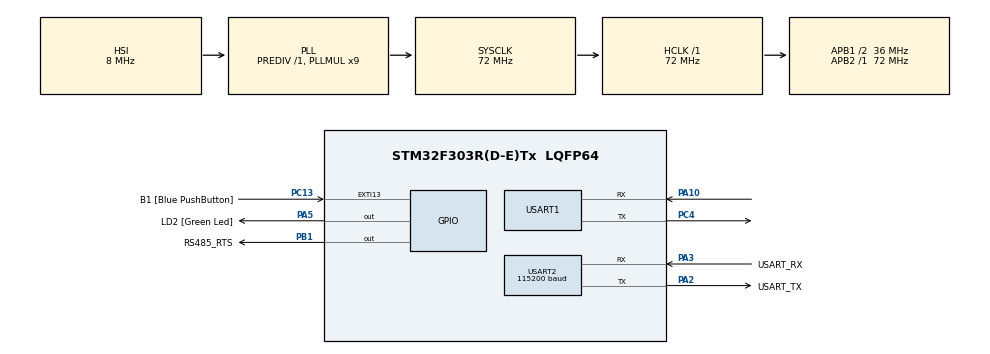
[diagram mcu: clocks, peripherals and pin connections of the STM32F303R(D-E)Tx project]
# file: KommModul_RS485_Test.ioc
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Mcu.Family=STM32F3
Mcu.Name=STM32F303R(D-E)Tx
Mcu.Package=LQFP64
NVIC.PriorityGroup=NVIC_PRIORITYGROUP_0
NVIC.USART1_IRQn=true\:0\:0\:false\:false\:true\:true\:true\:true
PA10.GPIO_PuPd=GPIO_NOPULL
PA10.Mode=Asynchronous
PA10.Signal=USART1_RX
PA13.GPIO_Label=TMS
PA13.Mode=Serial_Wire
PA13.Signal=SYS_JTMS-SWDIO
PA14.GPIO_Label=TCK
PA14.Mode=Serial_Wire
PA14.Signal=SYS_JTCK-SWCLK
PA2.GPIO_Label=USART_TX
PA2.GPIO_Mode=GPIO_MODE_AF_PP
PA2.GPIO_PuPd=GPIO_NOPULL
PA2.GPIO_Speed=GPIO_SPEED_FREQ_LOW
PA2.Mode=Asynchronous
PA2.Signal=USART2_TX
PA3.GPIO_Label=USART_RX
PA3.GPIO_Mode=GPIO_MODE_AF_PP
PA3.GPIO_PuPd=GPIO_NOPULL
PA3.GPIO_Speed=GPIO_SPEED_FREQ_LOW
PA3.Mode=Asynchronous
PA3.Signal=USART2_RX
PA5.GPIO_Label=LD2 [Green Led]
PA5.GPIO_Mode=GPIO_MODE_OUTPUT_PP
PA5.GPIO_PuPd=GPIO_NOPULL
PA5.GPIO_Speed=GPIO_SPEED_FREQ_LOW
PA5.Signal=GPIO_Output
PB1.GPIO_Label=RS485_RTS
PB1.Signal=GPIO_Output
PB3.GPIO_Label=SWO
PB3.Signal=SYS_JTDO-TRACESWO
PC13.GPIO_Label=B1 [Blue PushButton]
PC13.GPIO_ModeDefaultEXTI=GPIO_MODE_IT_FALLING
PC13.Signal=GPXTI13
PC14-OSC32_IN.Mode=LSE-External-Oscillator
PC14-OSC32_IN.Signal=RCC_OSC32_IN
PC15-OSC32_OUT.Mode=LSE-External-Oscillator
PC15-OSC32_OUT.Signal=RCC_OSC32_OUT
PC4.Mode=Asynchronous
PC4.Signal=USART1_TX
PF0-OSC_IN.Mode=HSE-External-Clock-Source
PF0-OSC_IN.Signal=RCC_OSC_IN
PF1-OSC_OUT.Signal=RCC_OSC_OUT
ProjectManager.HeapSize=0x200
ProjectManager.StackSize=0x400
ProjectManager.TargetToolchain=STM32CubeIDE
RCC.AHBFreq_Value=72000000
RCC.APB1CLKDivider=RCC_HCLK_DIV2
RCC.APB1Freq_Value=36000000
RCC.APB1TimFreq_Value=72000000
RCC.APB2Freq_Value=72000000
RCC.APB2TimFreq_Value=72000000
RCC.CortexFreq_Value=72000000
RCC.HCLKFreq_Value=72000000
RCC.HSE_VALUE=8000000
RCC.HSI_VALUE=8000000
RCC.PLLM=8
RCC.PLLMUL=RCC_PLL_MUL9
RCC.PLLN=336
RCC.PLLP=RCC_PLLP_DIV4
RCC.PLLQ=7
RCC.RCC_PLLsource_Clock_Source_FROM_HSE=RCC_HSE_PREDIV_DIV2
RCC.SYSCLKFreq_VALUE=72000000
RCC.SYSCLKSourceVirtual=RCC_SYSCLKSOURCE_PLLCLK
RCC.USBFreq_Value=72000000
USART1.VirtualMode-Asynchronous=VM_ASYNC
USART2.BaudRate=115200
USART2.VirtualMode-Asynchronous=VM_ASYNC
board=NUCLEO-F303RE

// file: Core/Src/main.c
/* USER CODE BEGIN Header */
/**
  ******************************************************************************
  * @file           : main.c
  * @brief          : Main program body
  ******************************************************************************
  * @attention
  *
  * Copyright (c) 2026 STMicroelectronics.
  * All rights reserved.
  *
  * This software is licensed under terms that can be found in the LICENSE file
  * in the root directory of this software component.
  * If no LICENSE file comes with this software, it is provided AS-IS.
  *
  ******************************************************************************
  */
/* USER CODE END Header */
#include "main.h"
#include "usart.h"
#include "gpio.h"

/* USER CODE BEGIN Includes */
#include <stdio.h>
#include "uart_rs485.h"
/* USER CODE END Includes */

void SystemClock_Config(void);

/* USER CODE BEGIN 0 */
int _write(int file, char *ptr, int len)
{
    (void)file;

    for (int i = 0; i < len; i++)
    {
        if (ptr[i] == '\n')
        {
            uint8_t cr = '\r';
            HAL_UART_Transmit(&huart2, &cr, 1, HAL_MAX_DELAY);
        }

        HAL_UART_Transmit(&huart2, (uint8_t *)&ptr[i], 1, HAL_MAX_DELAY);
    }

    return len;
}

/* static void print_rs485_frame(const rs485_frame_t *frame)
{
    printf("%02X %02X %02X %02X %02X  %s",
           frame->data[0],
           frame->data[1],
           frame->data[2],
           frame->data[3],
           frame->data[4],
           frame->checksum_ok ? "OK" : "CRC_ERROR");

    if (frame->error_flags != 0U)
    {
        printf("  USART_ERR=0x%08lX", (unsigned long)frame->error_flags);
    }

    printf("\n");
} */
/* USER CODE END 0 */

int main(void)
{

  /* MCU Configuration--------------------------------------------------------*/

  /* Reset of all peripherals, Initializes the Flash interface and the Systick. */
  HAL_Init();

  /* Configure the system clock */
  SystemClock_Config();

  /* Initialize all configured peripherals */
  MX_GPIO_Init();
  MX_USART1_UART_Init();
  MX_USART2_UART_Init();

  /* USER CODE BEGIN 2 */
  uart_rs485_start();

  printf("\nRS485 Sende-/Empfangstest gestartet\n");
  printf("USART1: RS485 TX/RX, 38400 Baud\n");
  printf("USART2: Debug-Ausgabe, 115200 Baud\n\n");
  printf("Alle 30 ms wird ein Telemetrieframe gesendet.\n");
  printf("Reihenfolge: rpm, Leistung, Spannung, Kapazitaet, "
         "Geschwindigkeit, Temperatur\n\n");

  /* Nur für Softwaretest. Später bei echter Messung auskommentieren. */
  //uart_rs485_test_inject_frame();

  rs485_frame_t frame = {0};
  //uint8_t raw_byte = 0;
  //uint8_t raw_count_in_line = 0;
  uint32_t last_diag = 0;
  uint32_t last_printed_tx_count = 0U;
  uint8_t last_tx_frame[RS485_FRAME_LENGTH] = {0U};
  /* USER CODE END 2 */

  /* Infinite loop */
  while (1)
  {

	  /* USER CODE BEGIN 3 */

	  /*
	   * Bidirektionalen RS485-Test bedienen.
	   * Empfang läuft weiterhin per UART-Interrupt.
	   */
	  uart_rs485_process();

	  /*
	   * Jedes erfolgreich gesendete Frame auf USART2 ausgeben.
	   */
	  if (uart_rs485_get_tx_frame_count() != last_printed_tx_count)
	  {
	      last_printed_tx_count = uart_rs485_get_tx_frame_count();
	      uart_rs485_get_last_tx_frame(last_tx_frame);

	      printf("%lu ms TX:    %02X %02X %02X %02X %02X\n",
	             (unsigned long)HAL_GetTick(),
	             last_tx_frame[0],
	             last_tx_frame[1],
	             last_tx_frame[2],
	             last_tx_frame[3],
	             last_tx_frame[4]);
	  }

	  /*
	   * Rohbytes ausgeben.
	   * Für sehr lange Messungen kann man das später deaktivieren,
	   * aber für die aktuelle Fehlersuche ist es hilfreich.
	   */
	/*  while (uart_rs485_get_raw_byte(&raw_byte))
	  {
	      printf("%02X ", raw_byte);

	      raw_count_in_line++;

	      if (raw_count_in_line >= 16U)
	      {
	          raw_count_in_line = 0;
	          printf("\n");
	      }
	  }*/

	  /*
	   * Erkannte Frames zusätzlich ausgeben.
	   * Falls die Ausgabe zu viel wird, kannst du diesen Block testweise auskommentieren.
	   */
	  while (uart_rs485_get_frame(&frame))
	  {
	      printf("%lu ms FRAME: %02X %02X %02X %02X %02X  %s\n",
	             (unsigned long)HAL_GetTick(),
	             frame.data[0],
	             frame.data[1],
	             frame.data[2],
	             frame.data[3],
	             frame.data[4],
	             frame.checksum_ok ? "OK" : "CRC_ERROR");
	  }
	  /*
	   * Diagnose einmal pro Sekunde.
	   */
	  if (HAL_GetTick() - last_diag >= 1000U)
	  {
	      last_diag = HAL_GetTick();

	      printf("\n%lu ms DIAG rx=%lu tx=%lu tx_err=%lu "
	             "last_tx_cmd=%02X last_tx_value=%u "
	             "last_rx=%02X raw_lost=%lu frame_lost=%lu "
	             "uart_err=%lu last_err=0x%08lX ISR=0x%08lX "
	             "FE=%lu NE=%lu ORE=%lu PE=%lu\n",
	             (unsigned long)HAL_GetTick(),
	             (unsigned long)uart_rs485_get_rx_byte_count(),
	             (unsigned long)uart_rs485_get_tx_frame_count(),
	             (unsigned long)uart_rs485_get_tx_error_count(),
	             uart_rs485_get_last_tx_command(),
	             (unsigned int)uart_rs485_get_last_tx_value(),
	             uart_rs485_get_last_rx_byte(),
	             (unsigned long)uart_rs485_get_raw_lost_count(),
	             (unsigned long)uart_rs485_get_lost_frame_count(),
	             (unsigned long)uart_rs485_get_error_count(),
	             (unsigned long)uart_rs485_get_last_uart_error(),
	             (unsigned long)uart_rs485_get_last_usart_isr(),
	             (unsigned long)uart_rs485_get_framing_error_count(),
	             (unsigned long)uart_rs485_get_noise_error_count(),
	             (unsigned long)uart_rs485_get_overrun_error_count(),
	             (unsigned long)uart_rs485_get_parity_error_count());
	  }
      /* USER CODE END 3 */
  }
  /* USER CODE END 3 */
}

void SystemClock_Config(void)
{
  RCC_OscInitTypeDef RCC_OscInitStruct = {0};
  RCC_ClkInitTypeDef RCC_ClkInitStruct = {0};
  RCC_PeriphCLKInitTypeDef PeriphClkInit = {0};

  /** Initializes the RCC Oscillators according to the specified parameters
  * in the RCC_OscInitTypeDef structure.
  */
  RCC_OscInitStruct.OscillatorType = RCC_OSCILLATORTYPE_HSI;
  RCC_OscInitStruct.HSIState = RCC_HSI_ON;
  RCC_OscInitStruct.HSICalibrationValue = RCC_HSICALIBRATION_DEFAULT;
  RCC_OscInitStruct.PLL.PLLState = RCC_PLL_ON;
  RCC_OscInitStruct.PLL.PLLSource = RCC_PLLSOURCE_HSI;
  RCC_OscInitStruct.PLL.PLLMUL = RCC_PLL_MUL9;
  RCC_OscInitStruct.PLL.PREDIV = RCC_PREDIV_DIV1;
  if (HAL_RCC_OscConfig(&RCC_OscInitStruct) != HAL_OK)
  {
    Error_Handler();
  }

  /** Initializes the CPU, AHB and APB buses clocks
  */
  RCC_ClkInitStruct.ClockType = RCC_CLOCKTYPE_HCLK|RCC_CLOCKTYPE_SYSCLK
                              |RCC_CLOCKTYPE_PCLK1|RCC_CLOCKTYPE_PCLK2;
  RCC_ClkInitStruct.SYSCLKSource = RCC_SYSCLKSOURCE_PLLCLK;
  RCC_ClkInitStruct.AHBCLKDivider = RCC_SYSCLK_DIV1;
  RCC_ClkInitStruct.APB1CLKDivider = RCC_HCLK_DIV2;
  RCC_ClkInitStruct.APB2CLKDivider = RCC_HCLK_DIV1;

  if (HAL_RCC_ClockConfig(&RCC_ClkInitStruct, FLASH_LATENCY_2) != HAL_OK)
  {
    Error_Handler();
  }
  PeriphClkInit.PeriphClockSelection = RCC_PERIPHCLK_USART1|RCC_PERIPHCLK_USART2;
  PeriphClkInit.Usart1ClockSelection = RCC_USART1CLKSOURCE_PCLK2;
  PeriphClkInit.Usart2ClockSelection = RCC_USART2CLKSOURCE_PCLK1;
  if (HAL_RCCEx_PeriphCLKConfig(&PeriphClkInit) != HAL_OK)
  {
    Error_Handler();
  }
}

void Error_Handler(void)
{
  __disable_irq();
  while (1)
  {
  }
}
